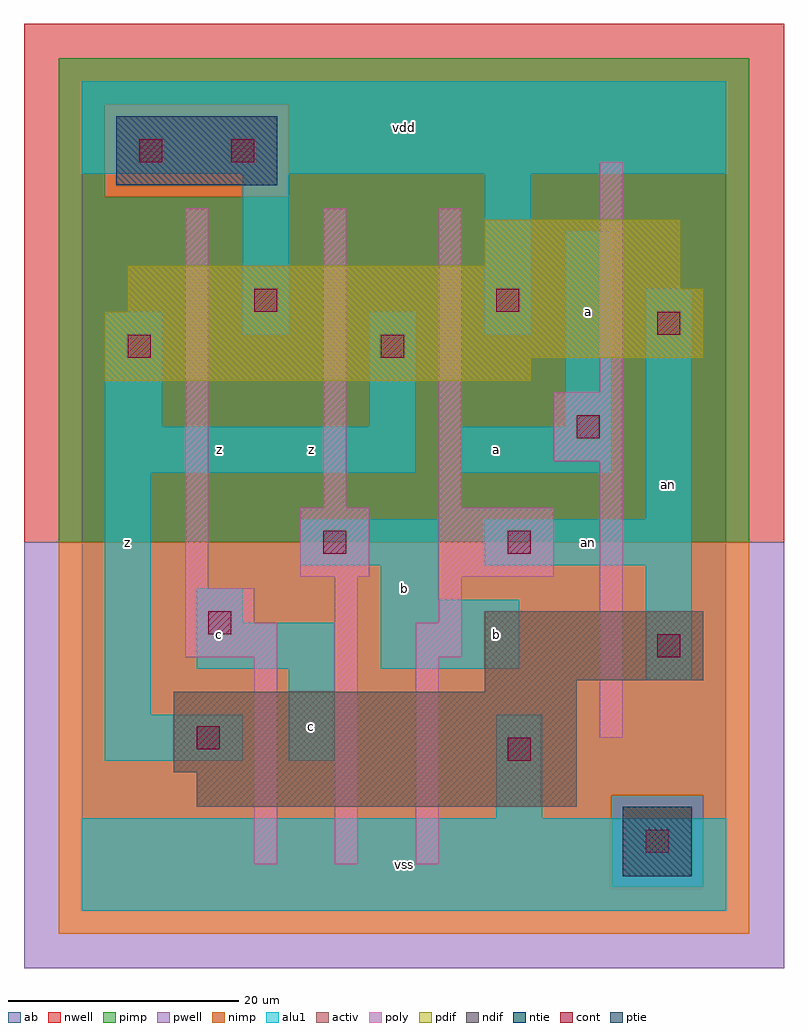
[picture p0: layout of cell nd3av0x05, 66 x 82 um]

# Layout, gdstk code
import gdstk
lib = gdstk.Library(unit=1e-6, precision=1e-09)
def R(c, l, rs):  # rectangles x0, y0, x1, y1
    for r in rs: c.add(gdstk.rectangle(r[:2], r[2:], *l))
ndif = (3, 0)
pdif = (4, 0)
ntie = (5, 0)
ptie = (6, 0)
cont = (25, 0)
pwell = (41, 0)
nwell = (42, 0)
activ = (43, 0)
pimp = (44, 0)
nimp = (45, 0)
poly = (46, 0)
alu1 = (49, 0)
ab = (63, 0)

nd3av0x05 = lib.new_cell('nd3av0x05')
R(nd3av0x05, ndif, [(10,9,43,12), (8,12,43,19), (35,19,43,20), (35,20,54,26)])
R(nd3av0x05, pdif, [(2,46,39,48), (2,48,54,52), (4,52,54,54), (4,54,52,56), (35,56,52,60)])
R(nd3av0x05, ntie, [(3,63,17,69)])
R(nd3av0x05, ptie, [(47,3,53,9)])
R(nd3av0x05, cont, [(49,5,51,7), (37,13,39,15), (10,14,12,16), (50,22,52,24), (11,24,13,26), (21,31,23,33), (37,31,39,33), (43,41,45,43), (4,48,6,50), (26,48,28,50), (50,50,52,52), (15,52,17,54), (36,52,38,54), (5,65,7,67), (13,65,15,67)])
R(nd3av0x05, pwell, [(-5,-5,61,32)])
R(nd3av0x05, nwell, [(-5,32,61,77)])
R(nd3av0x05, activ, [(47,3,53,9), (10,9,43,12), (8,12,43,19), (35,19,43,20), (35,20,54,26), (2,46,39,48), (2,48,54,52), (4,52,54,54), (4,54,52,56), (35,56,52,60), (3,63,17,69)])
R(nd3av0x05, pimp, [(46,2,54,10), (-2,32,58,62), (-2,62,2,70), (18,62,58,70), (-2,70,58,74)])
R(nd3av0x05, nimp, [(-2,-2,58,2), (-2,2,46,10), (54,2,58,10), (-2,10,58,32), (2,62,18,70)])
R(nd3av0x05, poly, [(15,4,17,22), (22,4,24,29), (29,4,31,22), (45,15,47,39), (9,22,17,25), (29,22,33,25), (9,25,15,28), (31,25,33,29), (9,28,11,61), (19,29,25,35), (31,29,41,35), (21,35,23,61), (31,35,33,61), (41,39,47,45), (45,45,47,65)])
R(nd3av0x05, alu1, [(0,0,56,8), (36,8,40,17), (2,13,14,17), (18,13,22,21), (2,17,6,38), (49,20,53,30), (10,21,22,25), (26,21,38,27), (10,25,14,28), (26,27,31,30), (19,30,31,34), (35,30,53,34), (49,34,53,54), (2,38,29,42), (33,38,46,42), (2,42,7,52), (25,42,29,52), (42,42,46,59), (14,50,18,64), (35,50,39,64), (0,64,56,72)])
R(nd3av0x05, ab, [(0,0,56,72)])
nd3av0x05.add(gdstk.Label('an', (44,32), layer=49, texttype=0))
nd3av0x05.add(gdstk.Label('an', (51,37), layer=49, texttype=0))
nd3av0x05.add(gdstk.Label('z', (4,32), layer=49, texttype=0))
nd3av0x05.add(gdstk.Label('c', (20,16), layer=49, texttype=0))
nd3av0x05.add(gdstk.Label('c', (12,24), layer=49, texttype=0))
nd3av0x05.add(gdstk.Label('z', (20,40), layer=49, texttype=0))
nd3av0x05.add(gdstk.Label('z', (12,40), layer=49, texttype=0))
nd3av0x05.add(gdstk.Label('vss', (28,4), layer=49, texttype=0))
nd3av0x05.add(gdstk.Label('b', (28,28), layer=49, texttype=0))
nd3av0x05.add(gdstk.Label('b', (36,24), layer=49, texttype=0))
nd3av0x05.add(gdstk.Label('a', (36,40), layer=49, texttype=0))
nd3av0x05.add(gdstk.Label('vdd', (28,68), layer=49, texttype=0))
nd3av0x05.add(gdstk.Label('a', (44,52), layer=49, texttype=0))

lib.write_gds('nd3av0x05.gds')
